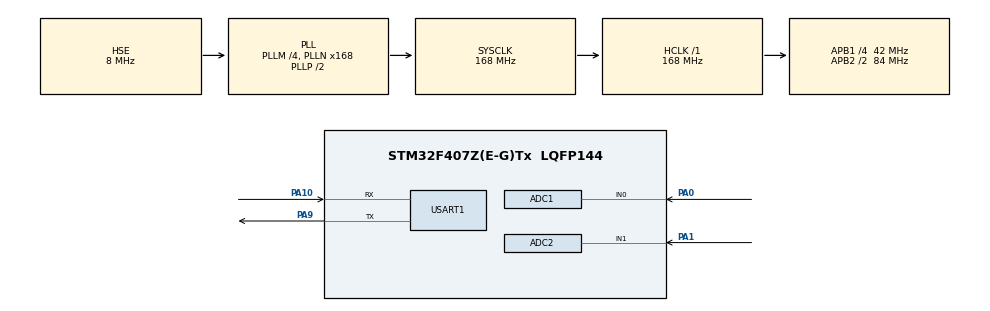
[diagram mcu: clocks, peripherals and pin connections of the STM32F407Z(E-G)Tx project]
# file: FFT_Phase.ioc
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ADC1.Channel-0\#ChannelRegularConversion=ADC_CHANNEL_0
ADC1.ClockPrescaler=ADC_CLOCK_SYNC_PCLK_DIV4
ADC1.ExternalTrigConv=ADC_EXTERNALTRIGCONV_T3_TRGO
ADC1.NbrOfConversionFlag=1
ADC1.Rank-0\#ChannelRegularConversion=1
ADC1.SamplingTime-0\#ChannelRegularConversion=ADC_SAMPLETIME_3CYCLES
ADC1.master=1
ADC2.Channel-1\#ChannelRegularConversion=ADC_CHANNEL_1
ADC2.NbrOfConversionFlag=1
ADC2.Rank-1\#ChannelRegularConversion=1
ADC2.SamplingTime-1\#ChannelRegularConversion=ADC_SAMPLETIME_3CYCLES
Dma.ADC1.0.Direction=DMA_PERIPH_TO_MEMORY
Dma.ADC1.0.FIFOMode=DMA_FIFOMODE_DISABLE
Dma.ADC1.0.Instance=DMA2_Stream0
Dma.ADC1.0.MemDataAlignment=DMA_MDATAALIGN_HALFWORD
Dma.ADC1.0.MemInc=DMA_MINC_ENABLE
Dma.ADC1.0.Mode=DMA_NORMAL
Dma.ADC1.0.PeriphDataAlignment=DMA_PDATAALIGN_HALFWORD
Dma.ADC1.0.PeriphInc=DMA_PINC_DISABLE
Dma.ADC1.0.Priority=DMA_PRIORITY_LOW
Dma.Request0=ADC1
Mcu.Family=STM32F4
Mcu.Name=STM32F407Z(E-G)Tx
Mcu.Package=LQFP144
NVIC.DMA2_Stream0_IRQn=true\:0\:0\:false\:false\:true\:false\:true\:true
NVIC.PriorityGroup=NVIC_PRIORITYGROUP_4
PA0-WKUP.Signal=ADCx_IN0
PA1.Signal=ADCx_IN1
PA10.Mode=Asynchronous
PA10.Signal=USART1_RX
PA13.Mode=Serial_Wire
PA13.Signal=SYS_JTMS-SWDIO
PA14.Mode=Serial_Wire
PA14.Signal=SYS_JTCK-SWCLK
PA9.Mode=Asynchronous
PA9.Signal=USART1_TX
PH0-OSC_IN.Mode=HSE-External-Oscillator
PH0-OSC_IN.Signal=RCC_OSC_IN
PH1-OSC_OUT.Mode=HSE-External-Oscillator
PH1-OSC_OUT.Signal=RCC_OSC_OUT
ProjectManager.HeapSize=0x200
ProjectManager.StackSize=0x400
ProjectManager.TargetToolchain=MDK-ARM V5.32
RCC.48MHZClocksFreq_Value=84000000
RCC.AHBFreq_Value=168000000
RCC.APB1CLKDivider=RCC_HCLK_DIV4
RCC.APB1Freq_Value=42000000
RCC.APB1TimFreq_Value=84000000
RCC.APB2CLKDivider=RCC_HCLK_DIV2
RCC.APB2Freq_Value=84000000
RCC.APB2TimFreq_Value=168000000
RCC.CortexFreq_Value=168000000
RCC.HCLKFreq_Value=168000000
RCC.HSE_VALUE=8000000
RCC.HSI_VALUE=16000000
RCC.LSE_VALUE=32768
RCC.PLLM=4
RCC.PLLN=168
RCC.PLLSourceVirtual=RCC_PLLSOURCE_HSE
RCC.SYSCLKFreq_VALUE=168000000
RCC.SYSCLKSource=RCC_SYSCLKSOURCE_PLLCLK
RCC.VCOOutputFreq_Value=336000000
SH.ADCx_IN0.0=ADC1_IN0,IN0
SH.ADCx_IN1.0=ADC2_IN1,IN1
TIM3.AutoReloadPreload=TIM_AUTORELOAD_PRELOAD_DISABLE
TIM3.Period=82-1
TIM3.Prescaler=1-1
TIM3.TIM_MasterOutputTrigger=TIM_TRGO_UPDATE
USART1.VirtualMode=VM_ASYNC
VP_TIM3_VS_ClockSourceINT.Mode=Internal
board=custom

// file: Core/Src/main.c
/* USER CODE BEGIN Header */
/**
  ******************************************************************************
  * @file           : main.c
  * @brief          : Main program body
  ******************************************************************************
  * @attention
  *
  * Copyright (c) 2025 STMicroelectronics.
  * All rights reserved.
  *
  * This software is licensed under terms that can be found in the LICENSE file
  * in the root directory of this software component.
  * If no LICENSE file comes with this software, it is provided AS-IS.
  *
  ******************************************************************************
  */
/* USER CODE END Header */
#include "main.h"
#include "adc.h"
#include "dma.h"
#include "tim.h"
#include "usart.h"
#include "gpio.h"

/* USER CODE BEGIN Includes */
#include "arm_math.h"
#include "arm_const_structs.h"
#include "stdio.h"
#include "math.h"
/* USER CODE END Includes */

/* USER CODE BEGIN PD */
#define  FFT_LENGTH 1024
/* USER CODE END PD */

/* USER CODE BEGIN PV */
uint16_t adc_buff1[FFT_LENGTH];
uint16_t adc_buff2[FFT_LENGTH];

int frq1=0,frq2=0;//最大值对应的频率下标
int wave_frq1,wave_frq2;//计算得出频率

__IO uint8_t AdcConvEnd = 0;

float adcBuff1[FFT_LENGTH];//ADC转化后的值
float fft_inputbuf1[FFT_LENGTH * 2];
float fft_outputbuf1[FFT_LENGTH];
double fft_phase1;

float adcBuff2[FFT_LENGTH];//ADC转化后的值
float fft_inputbuf2[FFT_LENGTH * 2];
float fft_outputbuf2[FFT_LENGTH];
double fft_phase2;

float max_value1,max_value2;//谐波幅值最大值

double phase;
double First_a,First_b;    //相位实部
double Second_a,Second_b;    //相位虚部
/* USER CODE END PV */

void SystemClock_Config(void);

int main(void)
{

  /* MCU Configuration--------------------------------------------------------*/

  /* Reset of all peripherals, Initializes the Flash interface and the Systick. */
  HAL_Init();

  /* Configure the system clock */
  SystemClock_Config();

  /* Initialize all configured peripherals */
  MX_GPIO_Init();
  MX_DMA_Init();
  MX_ADC1_Init();
  MX_ADC2_Init();
  MX_TIM3_Init();
  MX_USART1_UART_Init();

  /* Infinite loop */
  while (1)
  {

    /* USER CODE BEGIN 3 */
    /*********ADC采集*********/
    HAL_ADC_Start_DMA(&hadc1, (uint32_t *)adc_buff1, FFT_LENGTH);
    HAL_ADC_Start_DMA(&hadc2, (uint32_t *)adc_buff2, FFT_LENGTH);
    HAL_TIM_Base_Start(&htim3);

/*********ADC转化值*********/
    for (int i = 0; i < FFT_LENGTH; i++)
    {
        adcBuff1[i] = adc_buff1[i] * 3.3 / 4096;//将整型转化为浮点型
    }

    for (int i = 0; i < FFT_LENGTH; i++)
    {
        adcBuff2[i] = adc_buff2[i] * 3.3 / 4096;//将整型转化为浮点型
    }

/*********傅里叶变换*********/
    while (!AdcConvEnd);       //等待转换完毕

    for (int i = 0; i < FFT_LENGTH; i++)
    {
        fft_inputbuf1[i * 2] = adcBuff1[i];//实部赋值
        fft_inputbuf1[i * 2 + 1] = 0;//虚部赋值，固定为0.
    }
    for (int i = 0; i < FFT_LENGTH; i++)
    {
        fft_inputbuf2[i * 2] = adcBuff2[i];//实部赋值
        fft_inputbuf2[i * 2 + 1] = 0;//虚部赋值，固定为0.
    }

    arm_cfft_f32(&arm_cfft_sR_f32_len1024, fft_inputbuf1, 0, 1);
    arm_cmplx_mag_f32(fft_inputbuf1, fft_outputbuf1, FFT_LENGTH);

    arm_cfft_f32(&arm_cfft_sR_f32_len1024, fft_inputbuf2, 0, 1);
    arm_cmplx_mag_f32(fft_inputbuf2, fft_outputbuf2, FFT_LENGTH);

    //计算谐波幅值
    fft_outputbuf1[0] /= 1024;
    for (int i = 1; i < FFT_LENGTH; i++)//输出各次谐波幅值
    {
        fft_outputbuf1[i] /= 512;
    }

    fft_outputbuf2[0] /= 1024;
    for (int i = 1; i < FFT_LENGTH; i++)//输出各次谐波幅值
    {
        fft_outputbuf2[i] /= 512;
    }

    /********寻找最大值********/
    max_value1=fft_outputbuf1[1];
    for(int i=1;i<FFT_LENGTH/2-1;i++)
    {
        if(fft_outputbuf1[i]>=max_value1)
        {
            max_value1=fft_outputbuf1[i];
            frq1=i;
        }
        else
            max_value1=max_value1;
    }

    max_value2=fft_outputbuf2[1];
    for(int i=1;i<FFT_LENGTH/2-1;i++)
    {
        if(fft_outputbuf2[i]>=max_value2)
        {
            max_value2=fft_outputbuf2[i];
            frq2=i;
        }
        else
            max_value2=max_value2;
    }

    wave_frq1=frq1*1024000/1024;
    wave_frq2=frq2*1024000/1024;

    First_a = fft_inputbuf1[frq1*2];
    First_b = fft_inputbuf1[frq1*2+1];
    Second_a = fft_inputbuf2[frq2*2];
    Second_b = fft_inputbuf2[frq2*2+1];

    fft_phase1 = atan2(First_b,First_a);
    fft_phase2 = atan2(Second_b,Second_a);
    phase=fft_phase1-fft_phase2;

    printf("%.2f\n",(phase*180.0/3.1415926)+(7*(wave_frq1/10000)+1));
    printf("%d  %d\n",frq1,frq2);
  }
  /* USER CODE END 3 */
}

void SystemClock_Config(void)
{
  RCC_OscInitTypeDef RCC_OscInitStruct = {0};
  RCC_ClkInitTypeDef RCC_ClkInitStruct = {0};

  /** Configure the main internal regulator output voltage
  */
  __HAL_RCC_PWR_CLK_ENABLE();
  __HAL_PWR_VOLTAGESCALING_CONFIG(PWR_REGULATOR_VOLTAGE_SCALE1);

  /** Initializes the RCC Oscillators according to the specified parameters
  * in the RCC_OscInitTypeDef structure.
  */
  RCC_OscInitStruct.OscillatorType = RCC_OSCILLATORTYPE_HSE;
  RCC_OscInitStruct.HSEState = RCC_HSE_ON;
  RCC_OscInitStruct.PLL.PLLState = RCC_PLL_ON;
  RCC_OscInitStruct.PLL.PLLSource = RCC_PLLSOURCE_HSE;
  RCC_OscInitStruct.PLL.PLLM = 4;
  RCC_OscInitStruct.PLL.PLLN = 168;
  RCC_OscInitStruct.PLL.PLLP = RCC_PLLP_DIV2;
  RCC_OscInitStruct.PLL.PLLQ = 4;
  if (HAL_RCC_OscConfig(&RCC_OscInitStruct) != HAL_OK)
  {
    Error_Handler();
  }

  /** Initializes the CPU, AHB and APB buses clocks
  */
  RCC_ClkInitStruct.ClockType = RCC_CLOCKTYPE_HCLK|RCC_CLOCKTYPE_SYSCLK
                              |RCC_CLOCKTYPE_PCLK1|RCC_CLOCKTYPE_PCLK2;
  RCC_ClkInitStruct.SYSCLKSource = RCC_SYSCLKSOURCE_PLLCLK;
  RCC_ClkInitStruct.AHBCLKDivider = RCC_SYSCLK_DIV1;
  RCC_ClkInitStruct.APB1CLKDivider = RCC_HCLK_DIV4;
  RCC_ClkInitStruct.APB2CLKDivider = RCC_HCLK_DIV2;

  if (HAL_RCC_ClockConfig(&RCC_ClkInitStruct, FLASH_LATENCY_5) != HAL_OK)
  {
    Error_Handler();
  }
}

void Error_Handler(void)
{
  __disable_irq();
  while (1)
  {
  }
}
